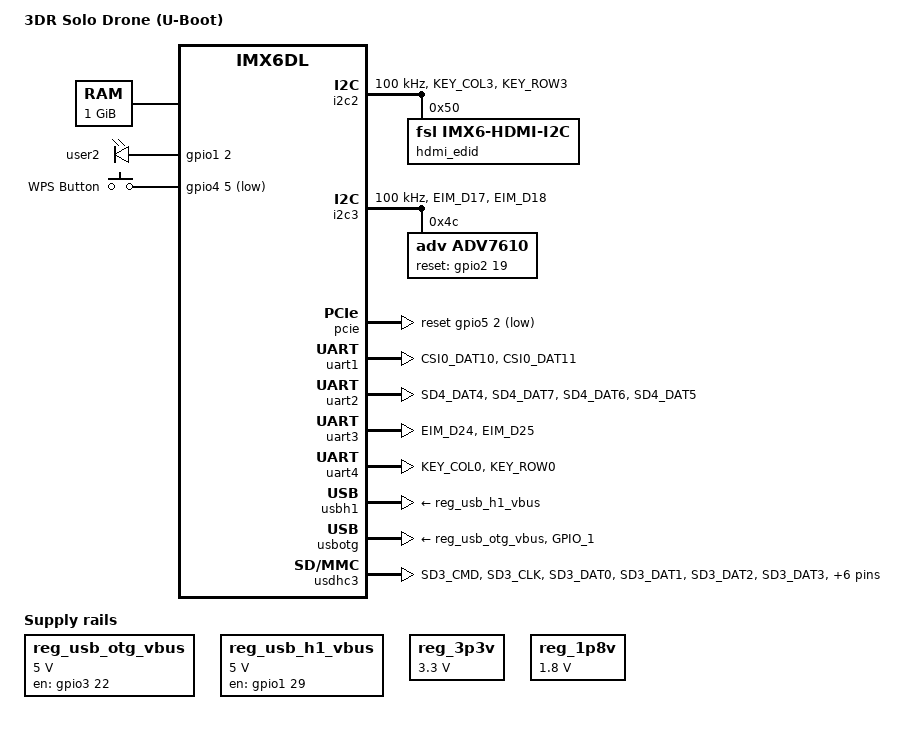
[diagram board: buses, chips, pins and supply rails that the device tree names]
// SPDX-License-Identifier: GPL-2.0+
/*
 * 3DR Solo drone (HDTC) - U-Boot device tree
 */

/dts-v1/;

#include <dt-bindings/gpio/gpio.h>
#include <dt-bindings/input/input.h>
#include <dt-bindings/interrupt-controller/irq.h>

#include "imx6dl.dtsi"

/ {
	model = "3DR Solo Drone (U-Boot)";
	compatible = "3dr,solo-drone", "fsl,imx6dl";

	aliases {
		/*
		 * Legacy OpenSolo U-Boot uses SDHC3 as mmc dev 1 (mmc1).
		 * Keep that numbering so the default environment's mmcdev=1 works.
		 */
		mmc1 = &usdhc3;
	};

	chosen {
		stdout-path = &uart1;
	};
};

/ {
	memory@10000000 {
		device_type = "memory";
		reg = <0x10000000 0x40000000>;
	};

	leds {
		compatible = "gpio-leds";

		led1: user2 {
			label = "user2";
			gpios = <&gpio1 2 GPIO_ACTIVE_HIGH>;
			default-state = "off";
			linux,default-trigger = "phy0assoc";
		};
	};

	regulators {
		compatible = "simple-bus";

		reg_usb_otg_vbus: usb_otg_vbus {
			compatible = "regulator-fixed";
			regulator-name = "usb_otg_vbus";
			regulator-min-microvolt = <5000000>;
			regulator-max-microvolt = <5000000>;
			gpio = <&gpio3 22 GPIO_ACTIVE_HIGH>;
			enable-active-high;
		};

		reg_usb_h1_vbus: usb_h1_vbus {
			compatible = "regulator-fixed";
			regulator-name = "usb_h1_vbus";
			regulator-min-microvolt = <5000000>;
			regulator-max-microvolt = <5000000>;
			gpio = <&gpio1 29 GPIO_ACTIVE_HIGH>;
			enable-active-high;
		};

		reg_3p3v: 3p3v {
			compatible = "regulator-fixed";
			regulator-name = "3P3V";
			regulator-min-microvolt = <3300000>;
			regulator-max-microvolt = <3300000>;
			regulator-always-on;
		};

		reg_1p8v: 1p8v {
			compatible = "regulator-fixed";
			regulator-name = "1P8V";
			regulator-min-microvolt = <1800000>;
			regulator-max-microvolt = <1800000>;
			regulator-always-on;
		};
	};

	gpio-keys {
		compatible = "gpio-keys";

		wps-pairing {
			label = "WPS Button";
			gpios = <&gpio4 5 GPIO_ACTIVE_LOW>;
			linux,code = <KEY_WPS_BUTTON>;
		};
	};
};

&gpc {
	fsl,cpu_pupscr_sw2iso = <0xf>;
	fsl,cpu_pupscr_sw = <0xf>;
	fsl,cpu_pdnscr_iso2sw = <0x1>;
	fsl,cpu_pdnscr_iso = <0x1>;
	fsl,ldo-bypass = <0>;
	fsl,wdog-reset = <1>;
	pu-supply = <&reg_pu>;
};

&i2c2 {
	clock-frequency = <100000>;
	pinctrl-names = "default";
	pinctrl-0 = <&pinctrl_i2c2_2>;
	status = "okay";

	hdmi_edid: edid@50 {
		compatible = "fsl,imx6-hdmi-i2c";
		reg = <0x50>;
	};
};

&i2c3 {
	clock-frequency = <100000>;
	pinctrl-names = "default";
	pinctrl-0 = <&pinctrl_i2c3_1>;
	status = "okay";

	adv7610: adv7610@4c {
		compatible = "adv,adv7610";
		reg = <0x4c>;
		pinctrl-names = "default";
		pinctrl-0 = <&pinctrl_ipu1_5>;
		csi_id = <0>;
		ipu_id = <0>;
		reset-gpios = <&gpio2 19 GPIO_ACTIVE_HIGH>;
	};
};

&iomuxc {
	pinctrl-names = "default";
	pinctrl-0 = <&pinctrl_hog_1>;

	hog {
		pinctrl_hog_1: hoggrp-1 {
			fsl,pins = <
				MX6QDL_PAD_GPIO_4__GPIO1_IO04 0x80000000
				MX6QDL_PAD_GPIO_5__GPIO1_IO05 0x80000000
				MX6QDL_PAD_EIM_CS1__GPIO2_IO24 0x80000000
				MX6QDL_PAD_EIM_A25__GPIO5_IO02 0x80000000
				MX6QDL_PAD_EIM_D23__GPIO3_IO23 0x80000000
				MX6QDL_PAD_EIM_D22__GPIO3_IO22 0x80000000
				MX6QDL_PAD_EIM_D16__GPIO3_IO16 0x80000000
				MX6QDL_PAD_EIM_DA9__GPIO3_IO09 0x80000000
				MX6QDL_PAD_EIM_D29__GPIO3_IO29 0x80000000
				MX6QDL_PAD_SD3_RST__GPIO7_IO08 0x80000000
				MX6QDL_PAD_GPIO_17__GPIO7_IO12 0x80000000
				MX6QDL_PAD_GPIO_9__GPIO1_IO09 0x80000000
				MX6QDL_PAD_GPIO_2__GPIO1_IO02 0x80000000
				MX6QDL_PAD_NANDF_CS3__GPIO6_IO16 0x80000000
				MX6QDL_PAD_NANDF_WP_B__GPIO6_IO09 0x80000000
				MX6QDL_PAD_EIM_A19__GPIO2_IO19 0x80000000
			>;
		};
	};

	i2c2 {
		pinctrl_i2c2_2: i2c2grp-2 {
			fsl,pins = <
				MX6QDL_PAD_KEY_COL3__I2C2_SCL 0x4001b8b1
				MX6QDL_PAD_KEY_ROW3__I2C2_SDA 0x4001b8b1
			>;
		};
	};

	i2c3 {
		pinctrl_i2c3_1: i2c3grp-1 {
			fsl,pins = <
				MX6QDL_PAD_EIM_D17__I2C3_SCL 0x4001b8b1
				MX6QDL_PAD_EIM_D18__I2C3_SDA 0x4001b8b1
			>;
		};
	};

	uart1 {
		pinctrl_uart1_1: uart1grp-1 {
			fsl,pins = <
				MX6QDL_PAD_CSI0_DAT10__UART1_TX_DATA 0x1b0b1
				MX6QDL_PAD_CSI0_DAT11__UART1_RX_DATA 0x1b0b1
			>;
		};
	};

	ipu1 {
		pinctrl_ipu1_5: ipu1grp-5 {
			fsl,pins = <
				MX6QDL_PAD_EIM_D27__IPU1_CSI0_DATA00 0x000030B0
				MX6QDL_PAD_EIM_D26__IPU1_CSI0_DATA01 0x000030B0
				MX6QDL_PAD_EIM_D31__IPU1_CSI0_DATA02 0x80000000
				MX6QDL_PAD_EIM_D30__IPU1_CSI0_DATA03 0x80000000
				MX6QDL_PAD_CSI0_DAT4__IPU1_CSI0_DATA04 0x80000000
				MX6QDL_PAD_CSI0_DAT5__IPU1_CSI0_DATA05 0x80000000
				MX6QDL_PAD_CSI0_DAT6__IPU1_CSI0_DATA06 0x80000000
				MX6QDL_PAD_CSI0_DAT7__IPU1_CSI0_DATA07 0x80000000
				MX6QDL_PAD_CSI0_DAT8__IPU1_CSI0_DATA08 0x80000000
				MX6QDL_PAD_CSI0_DAT9__IPU1_CSI0_DATA09 0x80000000
				MX6QDL_PAD_CSI0_DAT10__IPU1_CSI0_DATA10 0x000030B0
				MX6QDL_PAD_CSI0_DAT11__IPU1_CSI0_DATA11 0x000030B0
				MX6QDL_PAD_CSI0_DAT12__IPU1_CSI0_DATA12 0x80000000
				MX6QDL_PAD_CSI0_DAT13__IPU1_CSI0_DATA13 0x80000000
				MX6QDL_PAD_CSI0_DAT14__IPU1_CSI0_DATA14 0x80000000
				MX6QDL_PAD_CSI0_DAT15__IPU1_CSI0_DATA15 0x80000000
				MX6QDL_PAD_CSI0_DAT16__IPU1_CSI0_DATA16 0x80000000
				MX6QDL_PAD_CSI0_DAT17__IPU1_CSI0_DATA17 0x80000000
				MX6QDL_PAD_CSI0_DAT18__IPU1_CSI0_DATA18 0x80000000
				MX6QDL_PAD_CSI0_DAT19__IPU1_CSI0_DATA19 0x80000000
				MX6QDL_PAD_CSI0_PIXCLK__IPU1_CSI0_PIXCLK 0x80000000
			>;
		};
	};

	uart2 {
		pinctrl_uart2_3: uart2grp-3 {
			fsl,pins = <
				MX6QDL_PAD_SD4_DAT4__UART2_RX_DATA 0x1b0b1
				MX6QDL_PAD_SD4_DAT7__UART2_TX_DATA 0x1b0b1
				MX6QDL_PAD_SD4_DAT6__UART2_CTS_B 0x1b0b1
				MX6QDL_PAD_SD4_DAT5__UART2_RTS_B 0x1b0b1
			>;
		};
	};

	uart3 {
		pinctrl_uart3_2: uart3grp-2 {
			fsl,pins = <
				MX6QDL_PAD_EIM_D24__UART3_TX_DATA 0x1b0b1
				MX6QDL_PAD_EIM_D25__UART3_RX_DATA 0x1b0b1
			>;
		};
	};

	uart4 {
		pinctrl_uart4_1: uart4grp-1 {
			fsl,pins = <
				MX6QDL_PAD_KEY_COL0__UART4_TX_DATA 0x1b0b1
				MX6QDL_PAD_KEY_ROW0__UART4_RX_DATA 0x1b0b1
			>;
		};
	};

	usbotg {
		pinctrl_usbotg_1: usbotggrp-1 {
			fsl,pins = <
				MX6QDL_PAD_GPIO_1__USB_OTG_ID 0x17059
			>;
		};
	};

	usdhc3 {
		pinctrl_usdhc3_1: usdhc3grp-1 {
			fsl,pins = <
				MX6QDL_PAD_SD3_CMD__SD3_CMD 0x17059
				MX6QDL_PAD_SD3_CLK__SD3_CLK 0x10059
				MX6QDL_PAD_SD3_DAT0__SD3_DATA0 0x17059
				MX6QDL_PAD_SD3_DAT1__SD3_DATA1 0x17059
				MX6QDL_PAD_SD3_DAT2__SD3_DATA2 0x17059
				MX6QDL_PAD_SD3_DAT3__SD3_DATA3 0x17059
				MX6QDL_PAD_SD3_DAT4__SD3_DATA4 0x17059
				MX6QDL_PAD_SD3_DAT5__SD3_DATA5 0x17059
				MX6QDL_PAD_SD3_DAT6__SD3_DATA6 0x17059
				MX6QDL_PAD_SD3_DAT7__SD3_DATA7 0x17059
			>;
		};
	};
};

&pcie {
	reset-gpio = <&gpio5 2 GPIO_ACTIVE_LOW>;
	status = "okay";
};

&uart1 {
	pinctrl-names = "default";
	pinctrl-0 = <&pinctrl_uart1_1>;
	status = "okay";
};

&uart2 {
	pinctrl-names = "default";
	pinctrl-0 = <&pinctrl_uart2_3>;
	fsl,uart-has-rtscts;
	status = "okay";
};

&uart3 {
	pinctrl-names = "default";
	pinctrl-0 = <&pinctrl_uart3_2>;
	status = "okay";
};

&uart4 {
	pinctrl-names = "default";
	pinctrl-0 = <&pinctrl_uart4_1>;
	status = "okay";
};

&usbh1 {
	vbus-supply = <&reg_usb_h1_vbus>;
	status = "okay";
};

&usbotg {
	vbus-supply = <&reg_usb_otg_vbus>;
	pinctrl-names = "default";
	pinctrl-0 = <&pinctrl_usbotg_1>;
	disable-over-current;
	status = "okay";
};

&usdhc3 {
	pinctrl-names = "default";
	pinctrl-0 = <&pinctrl_usdhc3_1>;
	cd-gpios = <&gpio2 0 GPIO_ACTIVE_LOW>;
	wp-gpios = <&gpio2 1 GPIO_ACTIVE_HIGH>;
	no-1-8-v;
	keep-power-in-suspend;
	enable-sdio-wakeup;
	status = "okay";
};
